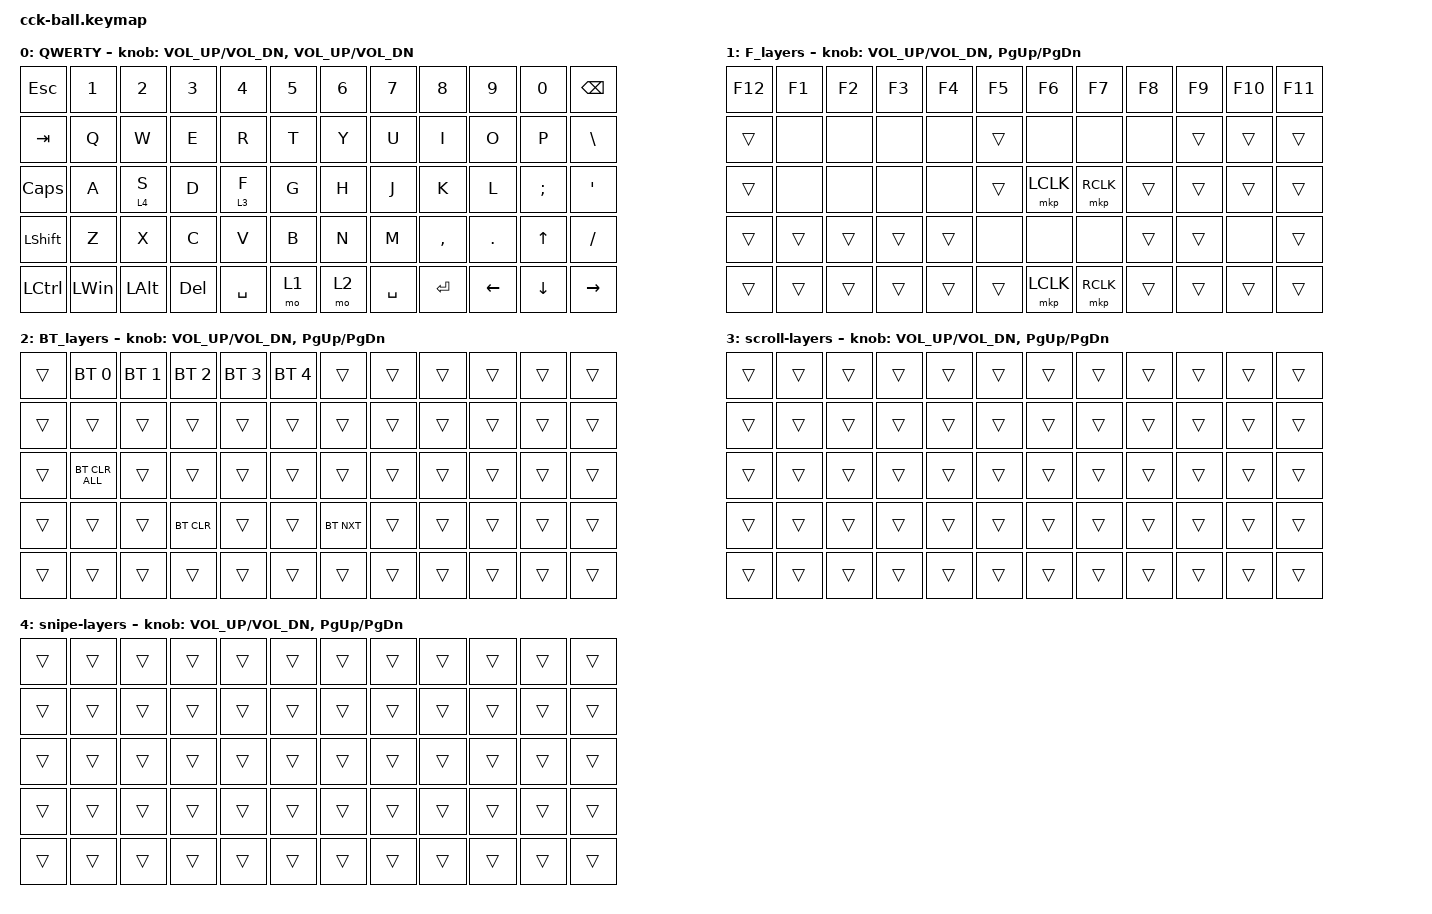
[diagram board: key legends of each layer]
#include <behaviors.dtsi>
#include <dt-bindings/zmk/bt.h>
#include <dt-bindings/zmk/keys.h>
#include <dt-bindings/zmk/pointing.h>
#include <dt-bindings/zmk/rgb.h>

&lt {
    tapping-term-ms = <200>;//lt的延迟时间
    flavor = "balanced";
    quick-tap-ms = <150>;//按下lt后，150ms内按住不松开，就一直是单击的这个按键，而不是切层的效果。150ms以内的这个时间是关键
};

/ {

    keymap {
        compatible = "zmk,keymap";

        QWERTY {
            bindings = <
&kp ESC           &kp N1         &kp N2         &kp N3            &kp N4        &kp N5                     &kp N6      &kp N7     &kp N8       &kp N9             &kp N0             &kp BACKSPACE
&kp TAB           &kp Q          &kp W          &kp E             &kp R         &kp T                      &kp Y       &kp U      &kp I        &kp O              &kp P              &kp BSLH
&kp CAPSLOCK      &kp A          &lt 4 S        &kp D             &lt 3 F       &kp G                      &kp H       &kp J      &kp K        &kp L              &kp SEMI           &kp SQT
&kp LEFT_SHIFT    &kp Z          &kp X          &kp C             &kp V         &kp B                      &kp N       &kp M      &kp COMMA    &kp DOT            &kp UP_ARROW       &kp FSLH    
&kp LEFT_CONTROL  &kp LEFT_WIN   &kp LEFT_ALT   &kp DELETE        &kp SPACE     &mo 1                      &mo 2       &kp SPACE  &kp ENTER    &kp LEFT_ARROW     &kp DOWN_ARROW     &kp RIGHT_ARROW    
            >;

            sensor-bindings = <&inc_dec_kp C_VOL_UP C_VOL_DN &inc_dec_kp C_VOL_UP C_VOL_DN>;
        };

        F_layers {
            bindings = <
&kp F12           &kp F1         &kp F2          &kp F3           &kp F4        &kp F5                     &kp F6      &kp F7     &kp F8        &kp F9             &kp F10           &kp F11
&trans            &none          &none           &none            &none         &trans                     &none       &none      &none         &trans             &trans            &trans
&trans            &none          &none           &none            &none         &trans                     &mkp LCLK   &mkp RCLK  &trans        &trans             &trans            &trans
&trans            &trans         &trans          &trans           &trans        &none                      &none       &none      &trans        &trans             &none             &trans
&trans            &trans         &trans          &trans           &trans        &trans                     &mkp LCLK   &mkp RCLK  &trans        &trans             &trans            &trans
            >;

            sensor-bindings = <&inc_dec_kp C_VOL_UP C_VOL_DN &inc_dec_kp PG_UP PG_DN>;
        };

        BT_layers {
            bindings = <
&trans           &bt BT_SEL 0    &bt BT_SEL 1    &bt BT_SEL 2     &bt BT_SEL 3    &bt BT_SEL 4             &trans      &trans     &trans        &trans             &trans            &trans
&trans           &trans          &trans          &trans           &trans          &trans                   &trans      &trans     &trans        &trans             &trans            &trans
&trans           &bt BT_CLR_ALL  &trans          &trans           &trans          &trans                   &trans      &trans     &trans        &trans             &trans            &trans
&trans           &trans          &trans          &bt BT_CLR       &trans          &trans                   &bt BT_NXT  &trans     &trans        &trans             &trans            &trans
&trans           &trans          &trans          &trans           &trans          &trans                   &trans      &trans     &trans        &trans             &trans            &trans
            >;

            sensor-bindings = <&inc_dec_kp C_VOL_UP C_VOL_DN &inc_dec_kp PG_UP PG_DN>;
        };

        scroll-layers {
            bindings = <
&trans           &trans          &trans          &trans           &trans          &trans                    &trans     &trans      &trans       &trans             &trans            &trans
&trans           &trans          &trans          &trans           &trans          &trans                    &trans     &trans      &trans       &trans             &trans            &trans
&trans           &trans          &trans          &trans           &trans          &trans                    &trans     &trans      &trans       &trans             &trans            &trans
&trans           &trans          &trans          &trans           &trans          &trans                    &trans     &trans      &trans       &trans             &trans            &trans
&trans           &trans          &trans          &trans           &trans          &trans                    &trans     &trans      &trans       &trans             &trans            &trans
            >;

            sensor-bindings = <&inc_dec_kp C_VOL_UP C_VOL_DN &inc_dec_kp PG_UP PG_DN>;
        };

        snipe-layers {
            bindings = <
&trans           &trans          &trans          &trans           &trans          &trans                    &trans     &trans      &trans       &trans             &trans            &trans
&trans           &trans          &trans          &trans           &trans          &trans                    &trans     &trans      &trans       &trans             &trans            &trans
&trans           &trans          &trans          &trans           &trans          &trans                    &trans     &trans      &trans       &trans             &trans            &trans
&trans           &trans          &trans          &trans           &trans          &trans                    &trans     &trans      &trans       &trans             &trans            &trans
&trans           &trans          &trans          &trans           &trans          &trans                    &trans     &trans      &trans       &trans             &trans            &trans
            >;

            sensor-bindings = <&inc_dec_kp C_VOL_UP C_VOL_DN &inc_dec_kp PG_UP PG_DN>;
        };
    };
};
